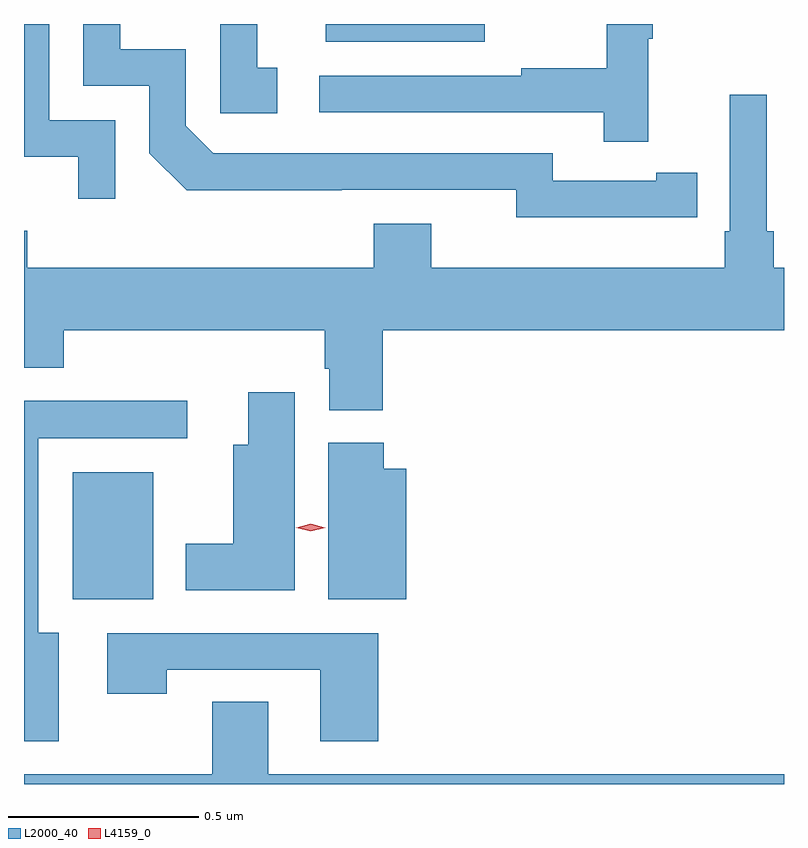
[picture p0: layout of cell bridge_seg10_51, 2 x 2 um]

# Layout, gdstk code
import gdstk
lib = gdstk.Library(unit=1e-6, precision=1e-09)
def R(c, l, rs):  # rectangles x0, y0, x1, y1
    for r in rs: c.add(gdstk.rectangle(r[:2], r[2:], *l))
def P(c, l, *ps):  # polygons
    for p in ps: c.add(gdstk.Polygon(p, *l))
L2000_40 = (2000, 40)
L4159_0 = (4159, 0)

bridge_seg10_51 = lib.new_cell('bridge_seg10_51')
R(bridge_seg10_51, L2000_40, [(867.974,1286.288,868.186,1286.623), (868.64,1287.755,869.059,1287.802)])
P(bridge_seg10_51, L2000_40, [(868.086,1287.549),(867.912,1287.549),(867.912,1287.802),(867.846,1287.802),(867.846,1287.453),(867.989,1287.453),(867.989,1287.342),(868.086,1287.342)],
  [(868.513,1287.687),(868.46,1287.687),(868.46,1287.802),(868.362,1287.802),(868.362,1287.567),(868.513,1287.567)],
  [(869.51,1287.294),(869.618,1287.294),(869.618,1287.41),(869.51,1287.41),(869.51,1287.39),(869.238,1287.39),(869.238,1287.462),(868.344,1287.462),(868.272,1287.534),(868.272,1287.735),(868.099,1287.735),(868.099,1287.802),(868.002,1287.802),(868.002,1287.639),(868.176,1287.639),(868.176,1287.462),(868.274,1287.365),(868.682,1287.365),(868.682,1287.366),(869.142,1287.366),(869.142,1287.293),(869.51,1287.293)],
  [(869.489,1287.763),(869.5,1287.763),(869.5,1287.802),(869.379,1287.802),(869.379,1287.686),(869.155,1287.686),(869.155,1287.666),(868.623,1287.666),(868.623,1287.57),(869.371,1287.57),(869.371,1287.492),(869.489,1287.492)],
  [(868.79,1286.996),(869.846,1286.996),(869.846,1287.16),(869.819,1287.16),(869.819,1287.256),(869.8,1287.256),(869.8,1287.616),(869.703,1287.616),(869.703,1287.256),(869.69,1287.256),(869.69,1287.16),(868.918,1287.16),(868.918,1287.277),(868.766,1287.277),(868.766,1287.16),(867.854,1287.16),(867.854,1287.258),(867.846,1287.258),(867.846,1286.897),(867.95,1286.897),(867.95,1286.996),(868.637,1286.996),(868.637,1286.895),(868.649,1286.895),(868.649,1286.785),(868.79,1286.785)],
  [(868.558,1286.833),(868.436,1286.833),(868.436,1286.695),(868.397,1286.695),(868.397,1286.434),(868.271,1286.434),(868.271,1286.312),(868.558,1286.312)],
  [(867.937,1286.2),(867.883,1286.2),(867.883,1286.712),(868.276,1286.712),(868.276,1286.81),(867.846,1286.81),(867.846,1285.914),(867.937,1285.914)],
  [(868.852,1286.632),(868.793,1286.632),(868.793,1286.7),(868.646,1286.7),(868.646,1286.288),(868.852,1286.288)],
  [(868.778,1286.199),(868.065,1286.199),(868.065,1286.04),(868.221,1286.04),(868.221,1286.103),(868.625,1286.103),(868.625,1285.914),(868.778,1285.914)],
  [(869.846,1285.828),(868.489,1285.828),(868.489,1286.018),(868.342,1286.018),(868.342,1285.828),(867.846,1285.828),(867.846,1285.802),(869.846,1285.802)])
P(bridge_seg10_51, L4159_0, [(868.601,1286.467),(868.563,1286.477),(868.562,1286.477),(868.563,1286.477),(868.601,1286.487),(868.639,1286.477),(868.639,1286.477),(868.639,1286.477)])

lib.write_gds('bridge_seg10_51.gds')
